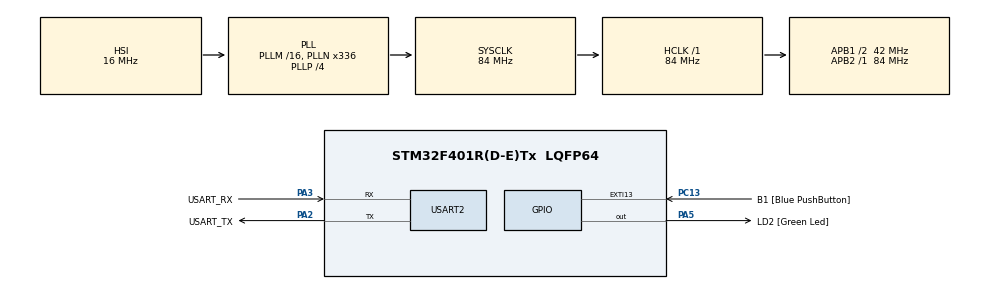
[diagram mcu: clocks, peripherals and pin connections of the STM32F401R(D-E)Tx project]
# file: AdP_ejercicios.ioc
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Mcu.Family=STM32F4
Mcu.Name=STM32F401R(D-E)Tx
Mcu.Package=LQFP64
NVIC.PriorityGroup=NVIC_PRIORITYGROUP_0
PA13.GPIO_Label=TMS
PA13.Mode=Serial_Wire
PA13.Signal=SYS_JTMS-SWDIO
PA14.GPIO_Label=TCK
PA14.Mode=Serial_Wire
PA14.Signal=SYS_JTCK-SWCLK
PA2.GPIO_Label=USART_TX
PA2.GPIO_Mode=GPIO_MODE_AF_PP
PA2.GPIO_PuPd=GPIO_NOPULL
PA2.GPIO_Speed=GPIO_SPEED_FREQ_LOW
PA2.Mode=Asynchronous
PA2.Signal=USART2_TX
PA3.GPIO_Label=USART_RX
PA3.GPIO_Mode=GPIO_MODE_AF_PP
PA3.GPIO_PuPd=GPIO_NOPULL
PA3.GPIO_Speed=GPIO_SPEED_FREQ_LOW
PA3.Mode=Asynchronous
PA3.Signal=USART2_RX
PA5.GPIO_Label=LD2 [Green Led]
PA5.GPIO_Mode=GPIO_MODE_OUTPUT_PP
PA5.GPIO_PuPd=GPIO_NOPULL
PA5.GPIO_Speed=GPIO_SPEED_FREQ_LOW
PA5.Signal=GPIO_Output
PB3.GPIO_Label=SWO
PB3.Signal=SYS_JTDO-SWO
PC13-ANTI_TAMP.GPIO_Label=B1 [Blue PushButton]
PC13-ANTI_TAMP.GPIO_ModeDefaultEXTI=GPIO_MODE_IT_FALLING
PC13-ANTI_TAMP.GPIO_PuPd=GPIO_NOPULL
PC13-ANTI_TAMP.Signal=GPXTI13
PC14-OSC32_IN.Mode=LSE-External-Oscillator
PC14-OSC32_IN.Signal=RCC_OSC32_IN
PC15-OSC32_OUT.Mode=LSE-External-Oscillator
PC15-OSC32_OUT.Signal=RCC_OSC32_OUT
PH0\ -\ OSC_IN.Mode=HSE-External-Clock-Source
PH0\ -\ OSC_IN.Signal=RCC_OSC_IN
PH1\ -\ OSC_OUT.Mode=HSE-External-Clock-Source
PH1\ -\ OSC_OUT.Signal=RCC_OSC_OUT
ProjectManager.HeapSize=0x200
ProjectManager.StackSize=0x400
ProjectManager.TargetToolchain=STM32CubeIDE
RCC.48MHZClocksFreq_Value=48000000
RCC.AHBFreq_Value=84000000
RCC.APB1CLKDivider=RCC_HCLK_DIV2
RCC.APB1Freq_Value=42000000
RCC.APB1TimFreq_Value=84000000
RCC.APB2Freq_Value=84000000
RCC.APB2TimFreq_Value=84000000
RCC.CortexFreq_Value=84000000
RCC.HCLKFreq_Value=84000000
RCC.HSE_VALUE=8000000
RCC.HSI_VALUE=16000000
RCC.PLLN=336
RCC.PLLP=RCC_PLLP_DIV4
RCC.PLLQ=7
RCC.SYSCLKFreq_VALUE=84000000
RCC.SYSCLKSource=RCC_SYSCLKSOURCE_PLLCLK
RCC.VCOOutputFreq_Value=336000000
USART2.VirtualMode=VM_ASYNC
board=NUCLEO-F401RE

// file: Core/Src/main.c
/* USER CODE BEGIN Header */
/**
  ******************************************************************************
  * @file           : main.c
  * @brief          : Main program body
  ******************************************************************************
  * @attention
  *
  * Copyright (c) 2023 STMicroelectronics.
  * All rights reserved.
  *
  * This software is licensed under terms that can be found in the LICENSE file
  * in the root directory of this software component.
  * If no LICENSE file comes with this software, it is provided AS-IS.
  *
  ******************************************************************************
  */
/* USER CODE END Header */
#include "main.h"

/* USER CODE BEGIN Includes */
#include "asm_func.h"
/* USER CODE END Includes */

UART_HandleTypeDef huart2;

void SystemClock_Config(void);
static void MX_GPIO_Init(void);
static void MX_USART2_UART_Init(void);
/* USER CODE BEGIN PFP */
// -----------------------------------------------------------------------------
// Prototipos funciones en C
// -----------------------------------------------------------------------------

void zeros (uint32_t * vector, uint32_t longitud);
void productoEscalar32 (uint32_t * vectorIn, uint32_t * vectorOut, uint32_t longitud, uint32_t escalar);
void productoEscalar16 (uint16_t * vectorIn, uint16_t * vectorOut, uint32_t longitud, uint16_t escalar);
void productoEscalar12 (uint16_t * vectorIn, uint16_t * vectorOut, uint32_t longitud, uint16_t escalar);
void filtroVentana10(uint16_t * vectorIn, uint16_t * vectorOut, uint32_t longitudVectorIn);
void pack32to16 (int32_t * vectorIn, int16_t *vectorOut, uint32_t longitud);

/* USER CODE END PFP */

int main(void)
{
  /* USER CODE BEGIN 1 */
	DWT->CTRL |= 1 << DWT_CTRL_CYCCNTENA_Pos;
  /* USER CODE END 1 */

  /* MCU Configuration--------------------------------------------------------*/

  /* Reset of all peripherals, Initializes the Flash interface and the Systick. */
  HAL_Init();

  /* Configure the system clock */
  SystemClock_Config();

  /* Initialize all configured peripherals */
  MX_GPIO_Init();
  MX_USART2_UART_Init();
  /* USER CODE BEGIN 2 */

  // Variables
  uint32_t largo = 5;
  uint32_t vector[] = {1,2,3,4,5};

  uint32_t escalarA = 1000;
  uint32_t vectorA[] = {1,2,3,4,5};
  uint32_t vectorB[largo];
  uint16_t escalarB = 1000;
  uint16_t vectorC[] = {1,2,3,4,5};
  uint16_t vectorD[largo];
  uint16_t escalarC = 1000;
  uint16_t vectorE[] = {1,2,3,4,5};
  uint16_t vectorF[largo];

  //************************************************************
  // Zeros en vector
  //************************************************************
  zeros(vector , largo);
  asm_zeros(vector , largo);

  //************************************************************
  // Producto Escalar 32 bits
  //************************************************************
  DWT->CYCCNT = 0;
  productoEscalar32(vectorA , vectorB, largo , escalarA);
  const volatile uint32_t Ciclos32C = DWT->CYCCNT;
  //zeros(vectorB , largo);
  DWT->CYCCNT = 0;
  asm_productoEscalar32(vectorA , vectorB, largo , escalarA);
  const volatile uint32_t Ciclos32 = DWT->CYCCNT;

  //************************************************************
  // Producto Escalar 16 bits
  //************************************************************
  DWT->CYCCNT = 0;
  productoEscalar16(vectorC , vectorD , largo , escalarB);
  const volatile uint32_t Ciclos16C = DWT->CYCCNT;
  //zeros(vectorD , largo);
  DWT->CYCCNT = 0;
  asm_productoEscalar16(vectorC , vectorD , largo , escalarB);
  const volatile uint32_t Ciclos16 = DWT->CYCCNT;

  //************************************************************
  // Producto Escalar 12 bits
  //************************************************************
  DWT->CYCCNT = 0;
  productoEscalar12(vectorE , vectorF , largo , escalarC);
  const volatile uint32_t Ciclos12C = DWT->CYCCNT;
  //zeros(vectorF , largo);
  DWT->CYCCNT = 0;
  asm_productoEscalar12(vectorE , vectorF , largo , escalarC);
  const volatile uint32_t Ciclos12 = DWT->CYCCNT;

  //************************************************************
  // Filtro Ventana Movil
  //************************************************************
  uint16_t vIN[] = {1,4,3,8,2,15}; //,7,1,12,8,4,6,9,13,10,5,5,17,2,11};
  uint16_t vOUT[6];
  uint32_t long_vIN = 6;
  filtroVentana10(vIN, vOUT, long_vIN);

  /* USER CODE END 2 */

  /* Infinite loop */
  while (1)
  {

  }
}

void SystemClock_Config(void)
{
  RCC_OscInitTypeDef RCC_OscInitStruct = {0};
  RCC_ClkInitTypeDef RCC_ClkInitStruct = {0};

  /** Configure the main internal regulator output voltage
  */
  __HAL_RCC_PWR_CLK_ENABLE();
  __HAL_PWR_VOLTAGESCALING_CONFIG(PWR_REGULATOR_VOLTAGE_SCALE2);

  /** Initializes the RCC Oscillators according to the specified parameters
  * in the RCC_OscInitTypeDef structure.
  */
  RCC_OscInitStruct.OscillatorType = RCC_OSCILLATORTYPE_HSI;
  RCC_OscInitStruct.HSIState = RCC_HSI_ON;
  RCC_OscInitStruct.HSICalibrationValue = RCC_HSICALIBRATION_DEFAULT;
  RCC_OscInitStruct.PLL.PLLState = RCC_PLL_ON;
  RCC_OscInitStruct.PLL.PLLSource = RCC_PLLSOURCE_HSI;
  RCC_OscInitStruct.PLL.PLLM = 16;
  RCC_OscInitStruct.PLL.PLLN = 336;
  RCC_OscInitStruct.PLL.PLLP = RCC_PLLP_DIV4;
  RCC_OscInitStruct.PLL.PLLQ = 7;
  if (HAL_RCC_OscConfig(&RCC_OscInitStruct) != HAL_OK)
  {
    Error_Handler();
  }

  /** Initializes the CPU, AHB and APB buses clocks
  */
  RCC_ClkInitStruct.ClockType = RCC_CLOCKTYPE_HCLK|RCC_CLOCKTYPE_SYSCLK
                              |RCC_CLOCKTYPE_PCLK1|RCC_CLOCKTYPE_PCLK2;
  RCC_ClkInitStruct.SYSCLKSource = RCC_SYSCLKSOURCE_PLLCLK;
  RCC_ClkInitStruct.AHBCLKDivider = RCC_SYSCLK_DIV1;
  RCC_ClkInitStruct.APB1CLKDivider = RCC_HCLK_DIV2;
  RCC_ClkInitStruct.APB2CLKDivider = RCC_HCLK_DIV1;

  if (HAL_RCC_ClockConfig(&RCC_ClkInitStruct, FLASH_LATENCY_2) != HAL_OK)
  {
    Error_Handler();
  }
}

static void MX_USART2_UART_Init(void)
{

  huart2.Instance = USART2;
  huart2.Init.BaudRate = 115200;
  huart2.Init.WordLength = UART_WORDLENGTH_8B;
  huart2.Init.StopBits = UART_STOPBITS_1;
  huart2.Init.Parity = UART_PARITY_NONE;
  huart2.Init.Mode = UART_MODE_TX_RX;
  huart2.Init.HwFlowCtl = UART_HWCONTROL_NONE;
  huart2.Init.OverSampling = UART_OVERSAMPLING_16;
  if (HAL_UART_Init(&huart2) != HAL_OK)
  {
    Error_Handler();
  }

}

static void MX_GPIO_Init(void)
{
  GPIO_InitTypeDef GPIO_InitStruct = {0};

  /* GPIO Ports Clock Enable */
  __HAL_RCC_GPIOC_CLK_ENABLE();
  __HAL_RCC_GPIOH_CLK_ENABLE();
  __HAL_RCC_GPIOA_CLK_ENABLE();
  __HAL_RCC_GPIOB_CLK_ENABLE();

  /*Configure GPIO pin Output Level */
  HAL_GPIO_WritePin(LD2_GPIO_Port, LD2_Pin, GPIO_PIN_RESET);

  /*Configure GPIO pin : B1_Pin */
  GPIO_InitStruct.Pin = B1_Pin;
  GPIO_InitStruct.Mode = GPIO_MODE_IT_FALLING;
  GPIO_InitStruct.Pull = GPIO_NOPULL;
  HAL_GPIO_Init(B1_GPIO_Port, &GPIO_InitStruct);

  /*Configure GPIO pin : LD2_Pin */
  GPIO_InitStruct.Pin = LD2_Pin;
  GPIO_InitStruct.Mode = GPIO_MODE_OUTPUT_PP;
  GPIO_InitStruct.Pull = GPIO_NOPULL;
  GPIO_InitStruct.Speed = GPIO_SPEED_FREQ_LOW;
  HAL_GPIO_Init(LD2_GPIO_Port, &GPIO_InitStruct);

}

/* USER CODE BEGIN 4 */

// *** Ejercicio 1 ***
void zeros (uint32_t * vector, uint32_t longitud)
{
	for(uint32_t i = 0 ; i < longitud ; i++)
		vector[i] = 0;
}

// *** Ejercicio 2 ***
void productoEscalar32 (uint32_t * vectorIn, uint32_t * vectorOut, uint32_t longitud, uint32_t escalar)
{
	for(uint32_t i = 0 ; i < longitud ; i++)
		vectorOut[i] = vectorIn[i] * escalar;
}

// *** Ejercicio 3 ***
void productoEscalar16 (uint16_t * vectorIn, uint16_t * vectorOut, uint32_t longitud, uint16_t escalar)
{
	for(uint32_t i = 0 ; i < longitud ; i++)
			vectorOut[i] = vectorIn[i] * escalar;
}

// *** Ejercicio 4 ***
void productoEscalar12 (uint16_t * vectorIn, uint16_t * vectorOut, uint32_t longitud, uint16_t escalar)
{
	productoEscalar16(vectorIn , vectorOut , longitud , escalar);
	for(uint32_t i = 0 ; i < longitud ; i++)
		if (vectorOut[i] > 0xFFF)
			vectorOut[i] = 0xFFF;
}

// *** Ejercicio 5 ***
void filtroVentana10(uint16_t * vectorIn, uint16_t * vectorOut, uint32_t longitudVectorIn)
{
	uint32_t l_window = 3;
	int32_t k;

	for(uint32_t i = longitudVectorIn - 1 ; i > 0  ; i--)
	{
		for(uint32_t j = 0 ; j < l_window ; j++)
		{
			k = i - (l_window/2);
			if(((k+j) < longitudVectorIn) && (k >= 0))
				vectorOut[i] = vectorOut[i] + vectorIn[k+j];
		}
		vectorOut[i] = vectorOut[i] / l_window;
	}
}

/* USER CODE END 4 */

void Error_Handler(void)
{
  __disable_irq();
  while (1)
  {
  }
}
